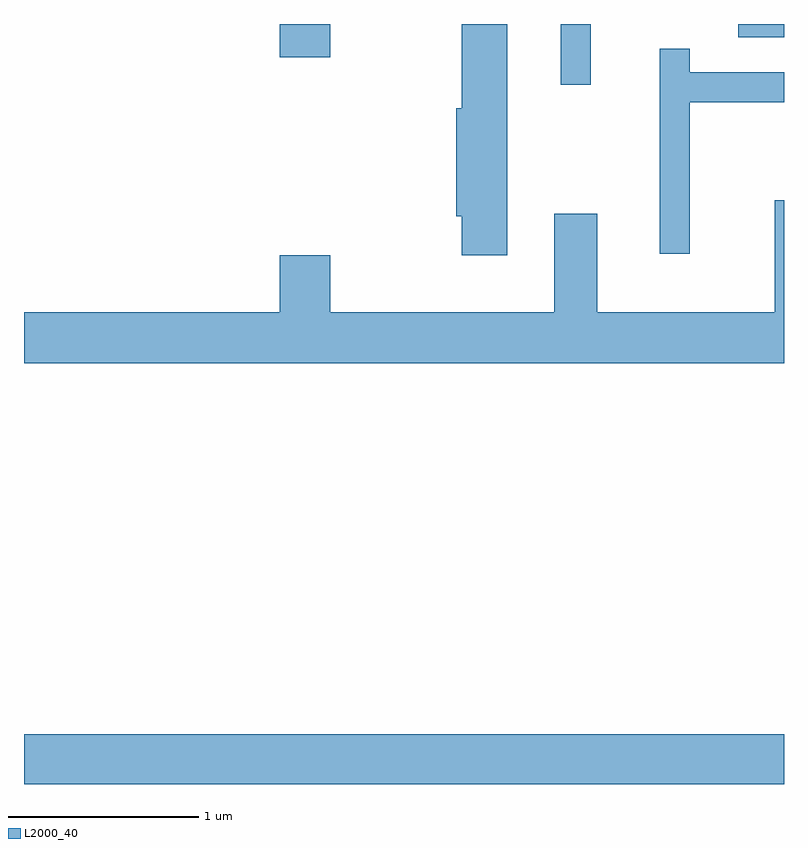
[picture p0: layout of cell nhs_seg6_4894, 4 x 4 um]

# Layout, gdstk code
import gdstk
lib = gdstk.Library(unit=1e-6, precision=1e-09)
def R(c, l, rs):  # rectangles x0, y0, x1, y1
    for r in rs: c.add(gdstk.rectangle(r[:2], r[2:], *l))
def P(c, l, *ps):  # polygons
    for p in ps: c.add(gdstk.Polygon(p, *l))
L2000_40 = (2000, 40)

nhs_seg6_4894 = lib.new_cell('nhs_seg6_4894')
R(nhs_seg6_4894, L2000_40, [(333.611,1652.162,337.611,1652.424), (336.436,1655.843,336.594,1656.162), (334.956,1655.986,335.224,1656.162), (337.371,1656.091,337.611,1656.162)])
P(nhs_seg6_4894, L2000_40, [(336.154,1656.162),(335.916,1656.162),(335.916,1655.719),(335.886,1655.719),(335.886,1655.151),(335.916,1655.151),(335.916,1654.946),(336.154,1654.946)],
  [(337.114,1655.751),(337.611,1655.751),(337.611,1655.909),(337.114,1655.909),(337.114,1656.033),(336.956,1656.033),(336.956,1654.953),(337.114,1654.953)],
  [(337.611,1655.234),(337.561,1655.234),(337.561,1654.644),(336.629,1654.644),(336.629,1655.164),(336.401,1655.164),(336.401,1654.644),(335.224,1654.644),(335.224,1654.944),(334.956,1654.944),(334.956,1654.644),(333.611,1654.644),(333.611,1654.376),(337.611,1654.376)])

lib.write_gds('nhs_seg6_4894.gds')
